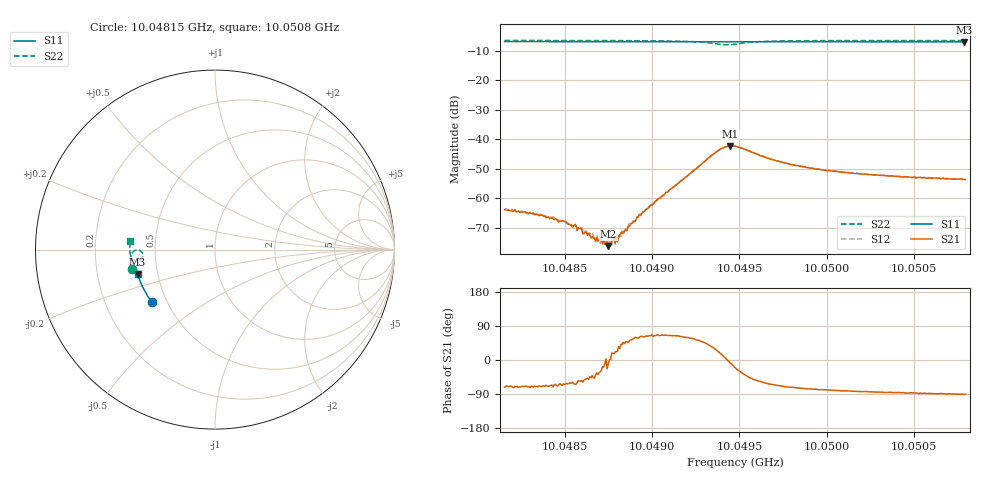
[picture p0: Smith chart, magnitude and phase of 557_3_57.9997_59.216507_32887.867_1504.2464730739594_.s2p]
#  HZ  S  RI  R  50.00
! Rohde & Schwarz Vector Network Analyzer
! Rohde-Schwarz,ZNB20-2Port,1311601062101988,3.16
! Created: UTC 3/21/2024, 1:15:15 AM
! freq[Hz]  re:S11  im:S11  re:S21  im:S21  re:S12  im:S12  re:S22  im:S22
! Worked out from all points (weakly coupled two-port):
!   401 points, 10.04815 GHz to 10.0508 GHz, reference 50 ohm
!   highest |S21| = -42.21 dB at 10.04945 GHz (marker M1); lowest = -76.2 dB at 10.04875 GHz (marker M2)
!   lowest |S11| = -6.9 dB at 10.05079 GHz (marker M3), VSWR 2.65, Z = 19.2 - j6.6 ohm
!   |S11| at or under -10 dB: nowhere
!   |S22| runs from -7.9 to -6.4 dB; largest |S21 - S12| = 0.00056
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1.0048155e10  -0.3532 -0.2894  0.000202 -0.00061  0.000263 -0.000581  -0.4652 -0.1087
1.0048373e10  -0.3618 -0.2779  0.000188 -0.00048  0.000213 -0.000443  -0.4678 -0.0933
1.0048498e10  -0.3666 -0.2711  0.000172 -0.00037  0.00018 -0.000361  -0.4691 -0.0841
1.0048597e10  -0.3705 -0.2657  0.000169 -0.000234  0.000217 -0.000236  -0.4698 -0.0766
1.0048643e10  -0.372 -0.2633  0.00017 -0.000162  0.000186 -0.000177  -0.4702 -0.073
1.0048663e10  -0.3728 -0.2621  0.000145 -0.000153  0.000167 -0.000157  -0.4703 -0.0714
1.0048709e10  -0.3745 -0.2597  0.000175 -9.1e-05  0.000186 -6.11e-05  -0.4706 -0.0678
1.0048749e10  -0.3759 -0.2574  0.000152 -2.53e-05  0.000199 1.46e-05  -0.4707 -0.0645
1.0048809e10  -0.378 -0.2541  0.000188 0.000133  0.000192 9.53e-05  -0.471 -0.0595
1.0048881e10  -0.3806 -0.2502  0.000227 0.000301  0.000227 0.000306  -0.4708 -0.0532
1.0048908e10  -0.3816 -0.2485  0.000219 0.000371  0.000169 0.000386  -0.4707 -0.0508
1.0048934e10  -0.3823 -0.247  0.000232 0.000452  0.000246 0.000483  -0.4705 -0.0482
1.004904e10  -0.3859 -0.241  0.000433 0.000903  0.000354 0.00094  -0.4688 -0.0374
1.0049363e10  -0.3957 -0.2221  0.00529 0.00283  0.00511 0.00317  -0.4206 -0.00458
1.0049409e10  -0.3969 -0.2197  0.00716 0.00123  0.00705 0.00168  -0.4048 -0.0196
1.0049449e10  -0.3981 -0.2176  0.00767 -0.00114  0.00773 -0.000617  -0.4032 -0.0404
1.0049475e10  -0.3988 -0.2163  0.0072 -0.00263  0.0074 -0.00211  -0.4097 -0.0523
1.0049693e10  -0.4056 -0.2036  0.00191 -0.0041  0.00218 -0.00401  -0.4634 -0.0453
1.0049918e10  -0.4117 -0.1902  0.000741 -0.00315  0.000907 -0.00311  -0.4732 -0.0198
1.005036e10  -0.4225 -0.1633  0.0002 -0.00237  0.000334 -0.00239  -0.4755 0.0171
1.0050789e10  -0.4311 -0.1365  -2.42e-05 -0.00209  0.00012 -0.0021  -0.4734 0.048
1.0050796e10  -0.4313 -0.1361  -1.96e-05 -0.00208  9.77e-05 -0.00207  -0.4734 0.0485
